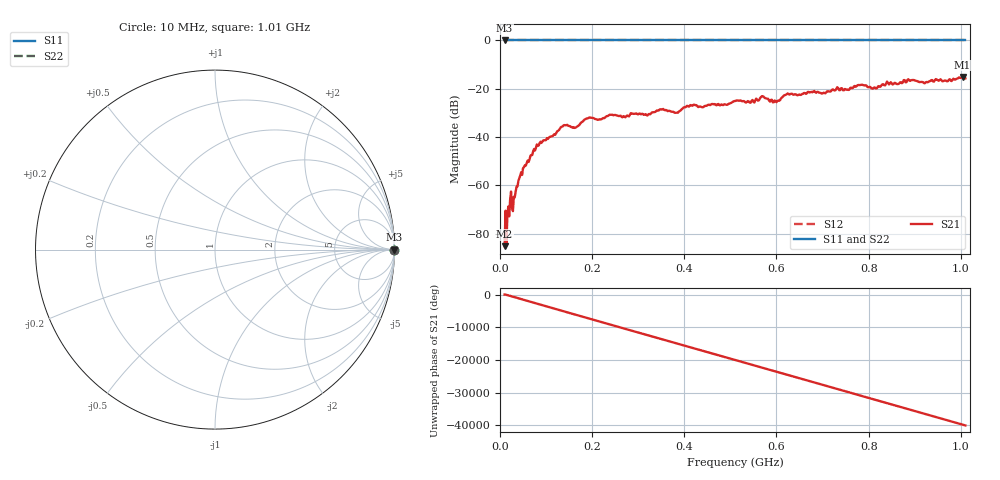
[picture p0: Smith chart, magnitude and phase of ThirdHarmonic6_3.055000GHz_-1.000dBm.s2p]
! 8/17/2025 8:53:15 AM
! C:\ANRITSUVNA\TEMP\TEMP.S2P
! CHANNEL.1
! TR.MEASUREMENT
! RAW.DATA
! RF.CORRECTION.OFF
! AVERAGING.OFF
! IF.BANDWIDTH: 5KHZ
! SWEEPTYPE:  FREQ.SWEEP(Linear)
! Reference Plane Port Info
! PORT:  PORT1  PORT2
! DISTANCE:  0  m  0  m
! TIME:  0  s  0  s
! PHASE.OFFSET:  0  deg.  0  deg.
! LOSS:  0  dB  0  dB
! REF.LOSS:  0  dB  0  dB
! REF.FREQ:  0  Hz  0  Hz
! Power Info
! POWER:  -20  dBm  -20  dBm
! EFF.POWER:  -20  dBm  -20  dBm
! SOURCE.ATTEN:  0  dB  0  dB
! TEST.ATTEN:  0  dB  0  dB
# GHZ S RI R 50.0
! FREQ.GHZ  S11RE  S11IM  S21RE  S21IM  S12RE  S12IM  S22RE  S22IM
!; PortSelection: Port_12
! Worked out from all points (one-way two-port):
!   501 points, 10 MHz to 1.01 GHz, reference 50 ohm
!   highest |S21| = -15.13 dB at 1.004 GHz (marker M1); lowest = -85.2 dB at 10 MHz (marker M2)
!   lowest |S11| = 0.0 dB at 10 MHz (marker M3)
!   |S11| at or under -10 dB: nowhere
!   |S22| runs from 0.0 to 0.0 dB; largest |S21 - S12| = 1.2
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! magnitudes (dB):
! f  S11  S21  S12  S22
! 10 MHz  0.0  -85.2  0.0  0.0
! 18 MHz  0.0  -68.9  0.0  0.0
! 20 MHz  0.0  -72.9  0.0  0.0
! 30 MHz  0.0  -64.8  0.0  0.0
! 42 MHz  0.0  -57.1  0.0  0.0
! 76 MHz  0.0  -45.6  0.0  0.0
! 136 MHz  0.0  -35.6  0.0  0.0
! 162 MHz  0.0  -36.3  0.0  0.0
! 178 MHz  0.0  -33.8  0.0  0.0
! 344 MHz  0.0  -29.1  0.0  0.0
! 382 MHz  0.0  -30.0  0.0  0.0
! 410 MHz  0.0  -27.4  0.0  0.0
! 510 MHz  0.0  -25.1  0.0  0.0
! 570 MHz  0.0  -23.1  0.0  0.0
! 596 MHz  0.0  -24.9  0.0  0.0
! 622 MHz  0.0  -22.4  0.0  0.0
! 678 MHz  0.0  -21.5  0.0  0.0
! 782 MHz  0.0  -18.4  0.0  0.0
! 812 MHz  0.0  -19.5  0.0  0.0
! 844 MHz  0.0  -18.2  0.0  0.0
! 1.004 GHz  0.0  -15.1  0.0  0.0
! 1.01 GHz  0.0  -15.7  0.0  0.0
